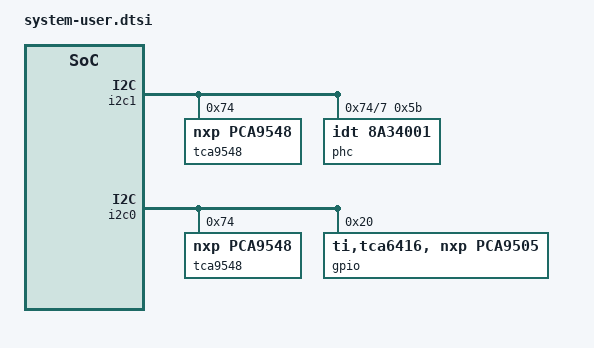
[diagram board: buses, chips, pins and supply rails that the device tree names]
/include/ "system-conf.dtsi"
/ {

	gt_pll: gt_pll@a40a0000 {
			reg = <0x0 0xa40a0000 0x0 0x10000>;
	};
	gt_ctrl_common: gt_ctrl_common@a4060000 {
			reg = <0x0 0xa4060000 0x0 0x40000>;
	};
	axi_mux: axi_mux@a40b0000 {
                        reg = <0x0 0xa40b0000 0x0 0x10000>;
        };
	
	/delete-node/ gt_quad_base@a4010000; 
	/delete-node/ gpio@a4060000;
	/delete-node/ gpio@a4070000;
	/delete-node/ gpio@a4080000;
	/delete-node/ gpio@a4090000;
	/delete-node/ gpio@a40b0000;

};

&mrmac_0_gt_wrapper_gt_quad_base{ 
	status = "disabled";

};

&MCDMA_0_axi_mcdma_0 {
    compatible = "xlnx,eth-dma";
    xlnx,addrwidth = <0x20>;
    xlnx,include-dre;
};
&MCDMA_1_axi_mcdma_0 {
    compatible = "xlnx,eth-dma";
    xlnx,addrwidth = <0x20>;
    xlnx,include-dre;
};
&MCDMA_2_axi_mcdma_0 {
    compatible = "xlnx,eth-dma";
    xlnx,addrwidth = <0x20>;
    xlnx,include-dre;
};
&MCDMA_3_axi_mcdma_0 {
    compatible = "xlnx,eth-dma";
    xlnx,addrwidth = <0x20>;
    xlnx,include-dre;
};

&mrmac_0_core{

    axistream-connected = <&MCDMA_0_axi_mcdma_0>;
    xlnx,max-rate=<25000>;
    xlnx,num-queues = /bits/ 16 <0x1>;
    xlnx,gtpll = <&gt_pll>;
    xlnx,gtctrl = <&gt_ctrl_common>;
    local-mac-address = [00 0a 35 00 00 00];
    xlnx,channel-ids = "1";
    xlnx,addrwidth = <0x20>;
    interrupt-names = "mm2s_ch1_introut", "s2mm_ch1_introut";
    interrupt-parent = <&gic>;
    interrupts = <0 84 4 0 85 4>;
    xlnx,axi_mux = <&axi_mux>;
};

&mrmac_0_core_1 {

    axistream-connected = <&MCDMA_1_axi_mcdma_0>;
    xlnx,max-rate=<25000>;
    xlnx,num-queues = /bits/ 16 <0x1>;
    xlnx,gtpll = <&gt_pll>;
    xlnx,gtctrl = <&gt_ctrl_common>;
    local-mac-address = [00 0a 35 00 00 01];
    xlnx,channel-ids = "1";
    xlnx,addrwidth = <0x20>;
    interrupt-names = "mm2s_ch1_introut", "s2mm_ch1_introut";
    interrupt-parent = <&gic>;
    interrupts = <0 86 4 0 87 4>;
    xlnx,axi_mux = <&axi_mux>;


};

&mrmac_0_core_2 {

    axistream-connected = <&MCDMA_2_axi_mcdma_0>;
    xlnx,max-rate=<25000>;
    xlnx,num-queues = /bits/ 16 <0x1>;
    xlnx,gtpll = <&gt_pll>;
    xlnx,gtctrl = <&gt_ctrl_common>;
    local-mac-address = [00 0a 35 00 00 02];
    xlnx,channel-ids = "1";
    xlnx,addrwidth = <0x20>;
    interrupt-names = "mm2s_ch1_introut", "s2mm_ch1_introut";
    interrupt-parent = <&gic>;
    interrupts = <0 88 4 0 89 4>;
    xlnx,axi_mux = <&axi_mux>;


};

&mrmac_0_core_3 {

    axistream-connected = <&MCDMA_3_axi_mcdma_0>;
    xlnx,max-rate=<25000>;
    xlnx,num-queues = /bits/ 16 <0x1>;
    xlnx,gtpll = <&gt_pll>;
    xlnx,gtctrl = <&gt_ctrl_common>;
    local-mac-address = [00 0a 35 00 00 03];
    xlnx,channel-ids = "1";
    xlnx,addrwidth = <0x20>;
    interrupt-names = "mm2s_ch1_introut", "s2mm_ch1_introut";
    interrupt-parent = <&gic>;
    interrupts = <0 90 4 0 91 4>;
    xlnx,axi_mux = <&axi_mux>;


};

&i2c1 { /* PMC_MIO44/45 */
        /* U35 TCA9548A switch */
        tca9548@74 {
                compatible = "nxp,pca9548";
                #pinctrl-names = "default";
                #address-cells = <0x1>;
                #size-cells = <0x0>;
                reg = <0x74>;
                #i2c-mux-idle-disconnect;

                i2c@7 {
                  #address-cells = <0x1>;
                  #size-cells = <0x0>;
                  reg = <0x7>;

                      phc@5b {
                              compatible = "idt,8a34001";
                              reg = <0x5b>;
                      };
              };
      };
};

&i2c0 { /* PMC_MIO46/47 */

        /* U33 TCA9548A switch */
        tca9548@74 {
                compatible = "nxp,pca9548";
                #pinctrl-names = "default";
                #address-cells = <0x1>;
                #size-cells = <0x0>;
                reg = <0x74>;
                #i2c-mux-idle-disconnect;
      };

      /* U233 TCA6416A GPIO Exander */
      gpio@20 {
                compatible = "ti,tca6416, nxp,pca9505";
                reg = <0x20>;
                pinctrl-names = "default";
                gpio-controller;
    };
};


